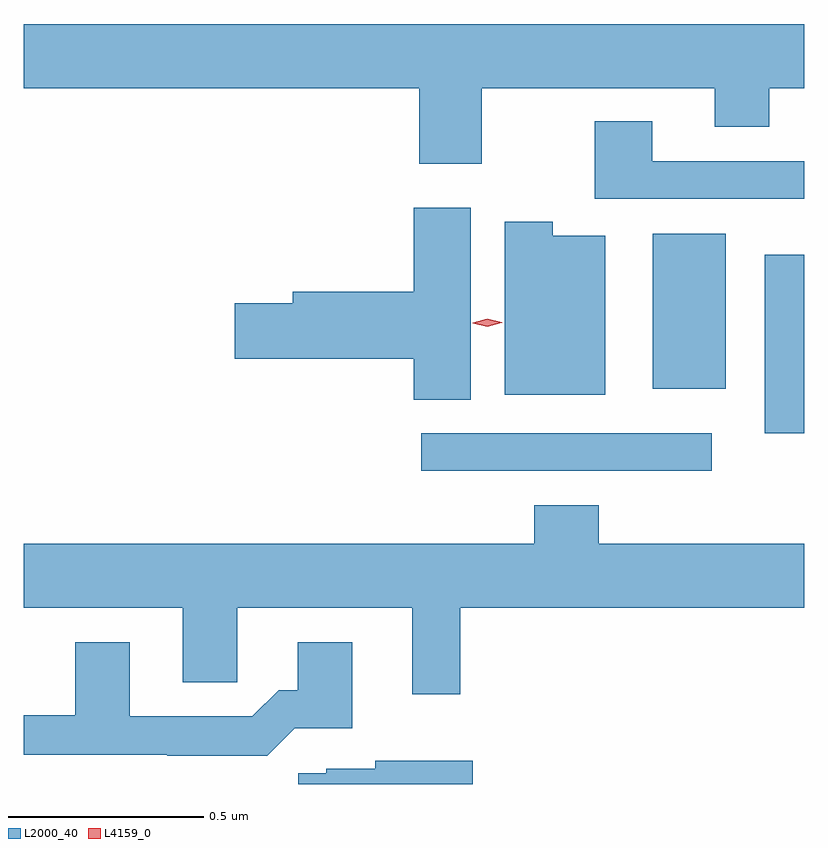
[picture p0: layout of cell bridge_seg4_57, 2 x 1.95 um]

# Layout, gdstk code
import gdstk
lib = gdstk.Library(unit=1e-6, precision=1e-09)
def R(c, l, rs):  # rectangles x0, y0, x1, y1
    for r in rs: c.add(gdstk.rectangle(r[:2], r[2:], *l))
def P(c, l, *ps):  # polygons
    for p in ps: c.add(gdstk.Polygon(p, *l))
L2000_40 = (2000, 40)
L4159_0 = (4159, 0)

bridge_seg4_57 = lib.new_cell('bridge_seg4_57')
R(bridge_seg4_57, L2000_40, [(737.463,769.2,738.208,769.296), (738.344,769.295,738.445,769.753), (738.056,769.409,738.244,769.807)])
P(bridge_seg4_57, L2000_40, [(737.619,770.18),(738.215,770.18),(738.215,770.081),(738.355,770.081),(738.355,770.18),(738.445,770.18),(738.445,770.344),(736.445,770.344),(736.445,770.18),(737.459,770.18),(737.459,769.986),(737.619,769.986)],
  [(738.445,769.992),(738.055,769.992),(738.055,770.095),(737.908,770.095),(737.908,769.896),(738.445,769.896)],
  [(737.59,769.873),(737.444,769.873),(737.444,769.658),(737.135,769.658),(737.135,769.628),(736.986,769.628),(736.986,769.486),(737.444,769.486),(737.444,769.381),(737.59,769.381)],
  [(737.935,769.801),(737.8,769.801),(737.8,769.837),(737.678,769.837),(737.678,769.394),(737.935,769.394)],
  [(737.563,768.848),(738.445,768.848),(738.445,769.012),(737.918,769.012),(737.918,769.111),(737.753,769.111),(737.753,769.012),(736.445,769.012),(736.445,768.848),(736.853,768.848),(736.853,768.658),(736.992,768.658),(736.992,768.848),(737.441,768.848),(737.441,768.627),(737.563,768.627)],
  [(737.139,768.54),(737.287,768.54),(737.287,768.76),(737.147,768.76),(737.147,768.637),(737.098,768.637),(737.031,768.57),(736.717,768.57),(736.717,768.76),(736.577,768.76),(736.577,768.573),(736.445,768.573),(736.445,768.472),(736.813,768.472),(736.813,768.47),(737.069,768.47)],
  [(737.596,768.457),(737.346,768.457),(737.346,768.436),(737.22,768.436),(737.22,768.425),(737.148,768.425),(737.148,768.397),(737.596,768.397)])
P(bridge_seg4_57, L4159_0, [(737.633,769.569),(737.596,769.578),(737.596,769.578),(737.596,769.579),(737.633,769.589),(737.67,769.58),(737.671,769.579),(737.67,769.579)])

lib.write_gds('bridge_seg4_57.gds')
